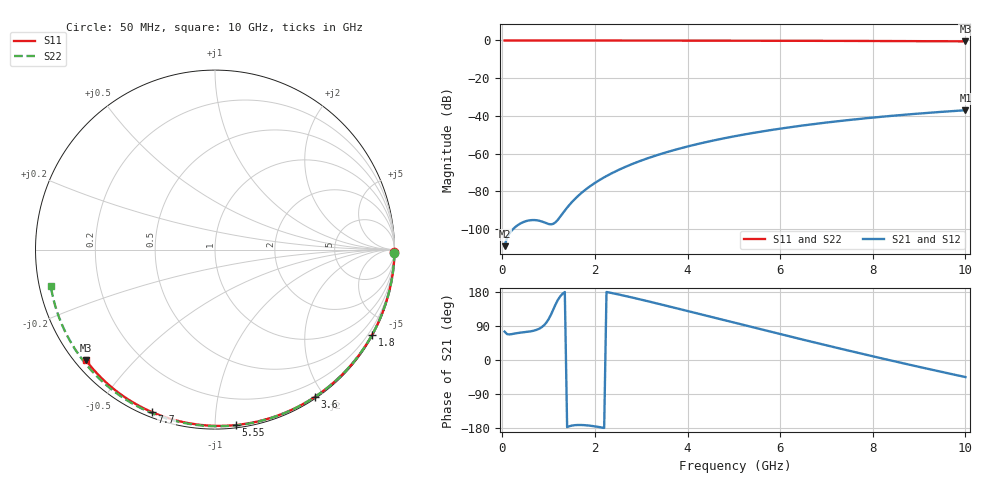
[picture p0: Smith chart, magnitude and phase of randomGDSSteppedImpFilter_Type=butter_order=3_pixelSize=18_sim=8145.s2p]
! freq	dB(S11)	phase(S11)	dB(S12)	phase(S12)
!  dB(S21)	phase(S21)	dB(S22)	phase(S22)
!S-par simulation data
#  GHz  S  DB  R 50
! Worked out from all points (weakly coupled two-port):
!   200 points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, 50 MHz to 10 GHz, reference 50 ohm
!   highest |S21| = -37.02 dB at 10 GHz (marker M1); lowest = -109.1 dB at 50 MHz (marker M2)
!   lowest |S11| = -0.5 dB at 10 GHz (marker M3), VSWR 36.76, Z = 1.55 - j18.5 ohm
!   |S11| at or under -10 dB: nowhere
!   |S22| runs from -0.6 to 0.0 dB; largest |S21 - S12| = 0
!   S11 on the Smith chart (normalised r, x): 50 MHz: open; 1.8 GHz: 0.03, -3.92; 3.6 GHz: 0.02, -1.89; 5.55 GHz: 0.02, -1.12; 7.7 GHz: 0.02, -0.68; 10 GHz: 0.03, -0.37
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0.05  -0.00 -0.8  -109.14 74.8  -109.14 74.8  -0.00 -1.0
0.45  -0.01 -7.3  -96.41 73.0  -96.41 73.0  -0.01 -8.7
0.85  -0.02 -13.7  -96.01 86.4  -96.01 86.4  -0.02 -16.3
1.3  -0.03 -20.8  -91.88 174.6  -91.88 174.6  -0.03 -24.8
1.75  -0.04 -27.8  -80.06 -171.7  -80.06 -171.7  -0.04 -33.3
1.8  -0.04 -28.6  -79.08 -172.2  -79.08 -172.2  -0.04 -34.2
1.95  -0.04 -30.9  -76.41 -174.2  -76.41 -174.2  -0.05 -37.0
2.1  -0.04 -33.3  -74.04 -177.1  -74.04 -177.1  -0.05 -39.7
2.3  -0.05 -36.3  -71.27 178.3  -71.27 178.3  -0.06 -43.4
2.5  -0.05 -39.4  -68.82 173.2  -68.82 173.2  -0.06 -47.0
2.9  -0.06 -45.5  -64.64 162.2  -64.64 162.2  -0.07 -54.2
3.4  -0.07 -52.9  -60.39 147.5  -60.39 147.5  -0.08 -63.0
3.6  -0.08 -55.9  -58.91 141.4  -58.91 141.4  -0.09 -66.4
4.3  -0.09 -66.0  -54.48 120.1  -54.48 120.1  -0.11 -78.3
5.05  -0.12 -76.5  -50.66 97.2  -50.66 97.2  -0.14 -90.6
5.55  -0.14 -83.3  -48.52 82.0  -48.52 82.0  -0.16 -98.6
6.1  -0.16 -90.7  -46.44 65.4  -46.44 65.4  -0.19 -107.3
6.7  -0.19 -98.5  -44.45 47.5  -44.45 47.5  -0.23 -116.5
7.7  -0.25 -111.2  -41.65 18.4  -41.65 18.4  -0.30 -131.7
8.35  -0.31 -119.3  -40.12 -0.1  -40.12 -0.1  -0.36 -141.6
9.2  -0.38 -129.7  -38.40 -23.6  -38.40 -23.6  -0.46 -154.6
10  -0.47 -139.4  -37.02 -45.0  -37.02 -45.0  -0.56 -167.4
